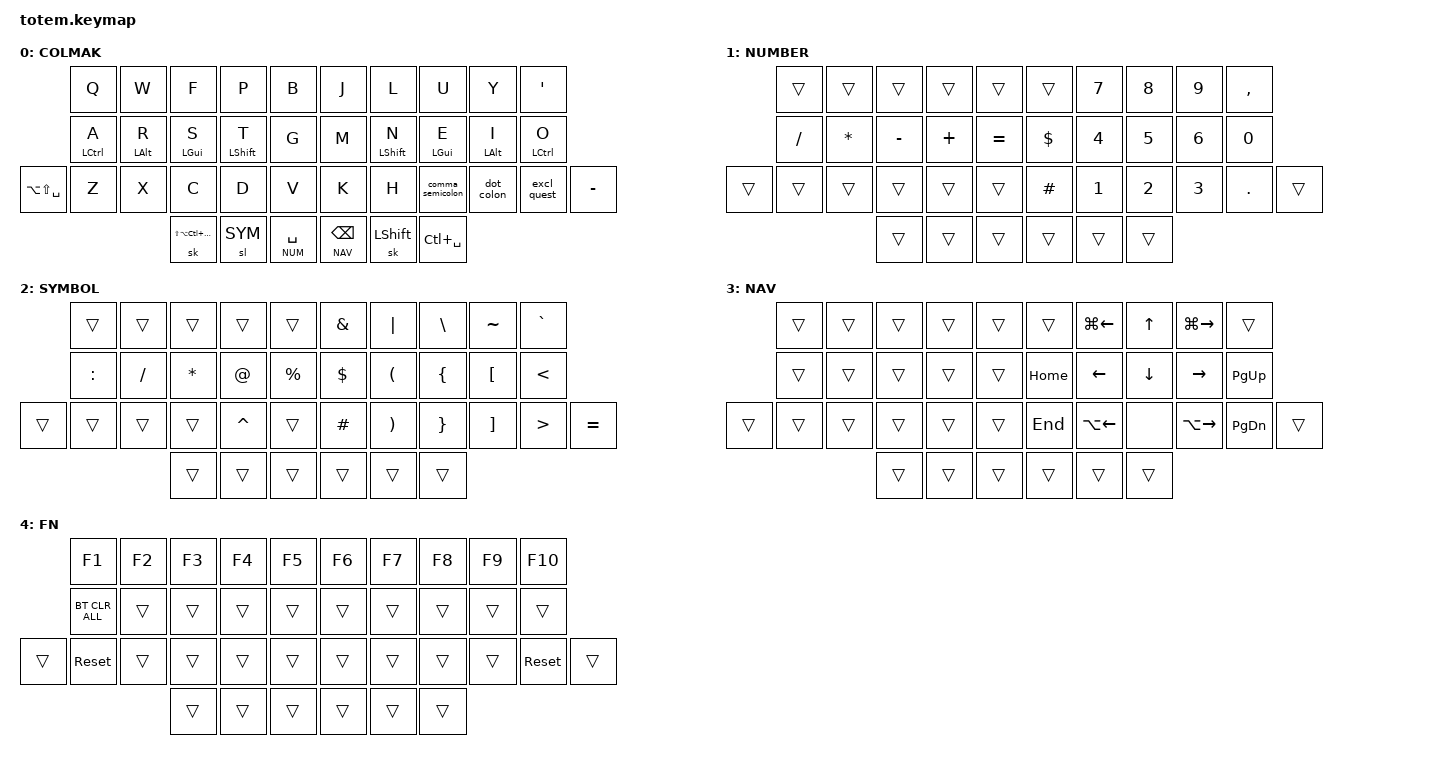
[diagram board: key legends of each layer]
//
//                                                        ▀▀▀▀▀     ▀▀▀▀▀          ▀▀█▀▀
//                                                        ▄▀▀▀▄  ▄  ▄▀▀▀▄  ▄  ▄▀▀▀▄  █  ▄▀▀▀▄
//                                                        █   █  █  █   █  █  █   █  █  █   █
//                                                         ▀▀▀   █   ▀▀▀   █   ▀▀▀   ▀   ▀▀▀
//                                                               █      ▄▄▄█▄▄▄    █   █  
//                                                               ▀      █  █  █     █▄█
//                                                             ▀▀▀▀▀    █  █  █      ▀
//                                                                      ▀  ▀  ▀
//
// ▄▄▄▄▄▄▄▄▄▄▄▄▄▄▄▄▄▄▄▄▄▄▄▄▄▄▄▄▄▄▄▄▄▄▄▄▄▄▄▄▄▄▄▄▄▄▄▄▄▄▄▄▄▄▄▄▄▄▄▄▄▄▄▄▄▄▄▄▄▄▄▄▄▄▄▄▄▄▄▄▄▄▄▄▄▄▄▄▄▄▄▄▄▄▄▄▄▄▄▄▄▄▄▄▄▄▄▄▄▄▄▄▄▄▄▄▄▄▄▄▄▄▄▄▄▄▄▄▄▄▄▄▄▄▄▄▄▄▄▄▄▄▄▄▄▄▄▄▄

#include <behaviors.dtsi>
#include <dt-bindings/zmk/bt.h>
#include <dt-bindings/zmk/keys.h>

#define BASE 0
#define NUM  1
#define SYM  2
#define NAV  3
#define FN   4

/ {
    behaviors {
        hm: homerow_mods {
            compatible = "zmk,behavior-hold-tap";
            #binding-cells = <2>;
            tapping-term-ms = <280>;
            quick-tap-ms = <175>;
            require-prior-idle-ms = <150>;
            flavor = "balanced";
            bindings = <&kp>, <&kp>;
        };

        comma_semicolon: comma_semicolon {
            compatible = "zmk,behavior-mod-morph";
            #binding-cells = <0>;
            bindings = <&kp COMMA>, <&kp SEMI>;

            mods = <(MOD_LSFT)>;
        };

        dot_colon: dot_colon {
            compatible = "zmk,behavior-mod-morph";
            #binding-cells = <0>;
            bindings = <&kp DOT>, <&kp LS(SEMI)>;

            mods = <(MOD_LSFT)>;
        };

        excl_quest: excl_quest {
            compatible = "zmk,behavior-mod-morph";
            #binding-cells = <0>;
            bindings = <&kp LS(FSLH)>, <&kp LS(N1)>;

            mods = <(MOD_LSFT)>;
        };
    };

    combos {
        compatible = "zmk,combos";

        combo_cut {
            timeout-ms = <50>;
            key-positions = <22 24>;
            bindings = <&kp LG(X)>;
        };

        combo_copy {
            timeout-ms = <50>;
            key-positions = <22 23>;
            bindings = <&kp LG(C)>;
        };

        combo_paste {
            timeout-ms = <50>;
            key-positions = <23 24>;
            bindings = <&kp LG(V)>;
        };

        combo_undo {
            timeout-ms = <50>;
            key-positions = <2 3>;
            bindings = <&kp LG(Z)>;
        };

        combo_redo {
            bindings = <&kp LS(LG(Z))>;
            key-positions = <1 2>;
        };

        combo_delete {
            timeout-ms = <50>;
            key-positions = <7 8>;
            bindings = <&kp DEL>;
        };

        combo_enter {
            timeout-ms = <50>;
            key-positions = <27 28>;
            bindings = <&kp ENTER>;
        };

        combo_tab {
            timeout-ms = <50>;
            key-positions = <28 29>;
            bindings = <&kp TAB>;
        };

        combo_cmd_enter {
            bindings = <&kp LG(ENTER)>;
            key-positions = <27 29>;
        };

        combo_escape_2 {
            bindings = <&kp ESCAPE>;
            key-positions = <34 35>;
        };

        vim_command {
            bindings = <&vim_command>;
            key-positions = <16 13>;
        };

        // FN holds BT_CLR_ALL and sys_reset, so it must not be reachable by a
        // single key. Outer bottom corners, one per hand, plus a 1s idle guard.

        combo_fn {
            timeout-ms = <50>;
            require-prior-idle-ms = <1000>;
            key-positions = <20 31>;
            bindings = <&sl FN>;
            layers = <BASE>;
        };

        command+k {
            bindings = <&kp LG(K)>;
            key-positions = <26 27>;
        };
    };

    macros {
        vim_command: vim_command {
            compatible = "zmk,behavior-macro";
            #binding-cells = <0>;
            bindings = <&kp ESCAPE &kp COLON>;
            label = "VIM_COMMAND";
        };
    };

    keymap {
        compatible = "zmk,keymap";

        default_layer {
            display-name = "COLMAK";
            bindings = <
                   &kp Q        &kp W       &kp F                           &kp P         &kp B            &kp J              &kp L           &kp U             &kp Y       &kp SINGLE_QUOTE
                   &hm LCTRL A  &hm LALT R  &hm LGUI S                      &hm LSHIFT T  &kp G            &kp M              &hm LSHIFT N    &hm LGUI E        &hm LALT I  &hm LCTRL O
&kp LA(LS(SPACE))  &kp Z        &kp X       &kp C                           &kp D         &kp V            &kp K              &kp H           &comma_semicolon  &dot_colon  &excl_quest       &kp MINUS
                                            &sk LS(LA(LC(LG(LEFT_SHIFT))))  &sl SYM       &lt NUM SPACE    &lt NAV BACKSPACE  &sk LEFT_SHIFT  &kp LC(SPACE)
            >;
        };

        layer_num {
            display-name = "NUMBER";
            bindings = <
        &trans     &trans    &trans     &trans    &trans       &trans      &kp N7  &kp N8  &kp N9  &kp COMMA
        &kp SLASH  &kp STAR  &kp MINUS  &kp PLUS  &kp EQUAL    &kp DOLLAR  &kp N4  &kp N5  &kp N6  &kp N0
&trans  &trans     &trans    &trans     &trans    &trans       &kp HASH    &kp N1  &kp N2  &kp N3  &kp PERIOD  &trans
                             &trans     &trans    &trans       &trans      &trans  &trans
            >;
        };

        layer_sym {
            display-name = "SYMBOL";
            bindings = <
        &trans     &trans     &trans     &trans     &trans         &kp AMPS    &kp PIPE               &kp BACKSLASH    &kp TILDE          &kp GRAVE
        &kp COLON  &kp SLASH  &kp ASTRK  &kp AT     &kp PERCENT    &kp DOLLAR  &kp LEFT_PARENTHESIS   &kp LEFT_BRACE   &kp LEFT_BRACKET   &kp LESS_THAN
&trans  &trans     &trans     &trans     &kp CARET  &trans         &kp HASH    &kp RIGHT_PARENTHESIS  &kp RIGHT_BRACE  &kp RIGHT_BRACKET  &kp GREATER_THAN  &kp EQUAL
                              &trans     &trans     &trans         &trans      &trans                 &trans
            >;
        };

        layer_nav {
            display-name = "NAV";
            bindings = <
        &trans  &trans  &trans  &trans  &trans    &trans    &kp LG(LEFT_ARROW)  &kp UP_ARROW  &kp LG(RIGHT)  &trans
        &trans  &trans  &trans  &trans  &trans    &kp HOME  &kp LEFT            &kp DOWN      &kp RIGHT      &kp PG_UP
&trans  &trans  &trans  &trans  &trans  &trans    &kp END   &kp LA(LEFT)        &none         &kp LA(RIGHT)  &kp PG_DN  &trans
                        &trans  &trans  &trans    &trans    &trans              &trans
            >;
        };

        layer_fn {
            display-name = "FN";
            bindings = <
        &kp F1          &kp F2  &kp F3  &kp F4  &kp F5    &kp F6  &kp F7  &kp F8  &kp F9  &kp F10
        &bt BT_CLR_ALL  &trans  &trans  &trans  &trans    &trans  &trans  &trans  &trans  &trans
&trans  &sys_reset      &trans  &trans  &trans  &trans    &trans  &trans  &trans  &trans  &sys_reset  &trans
                                &trans  &trans  &trans    &trans  &trans  &trans
            >;
        };
    };
};
